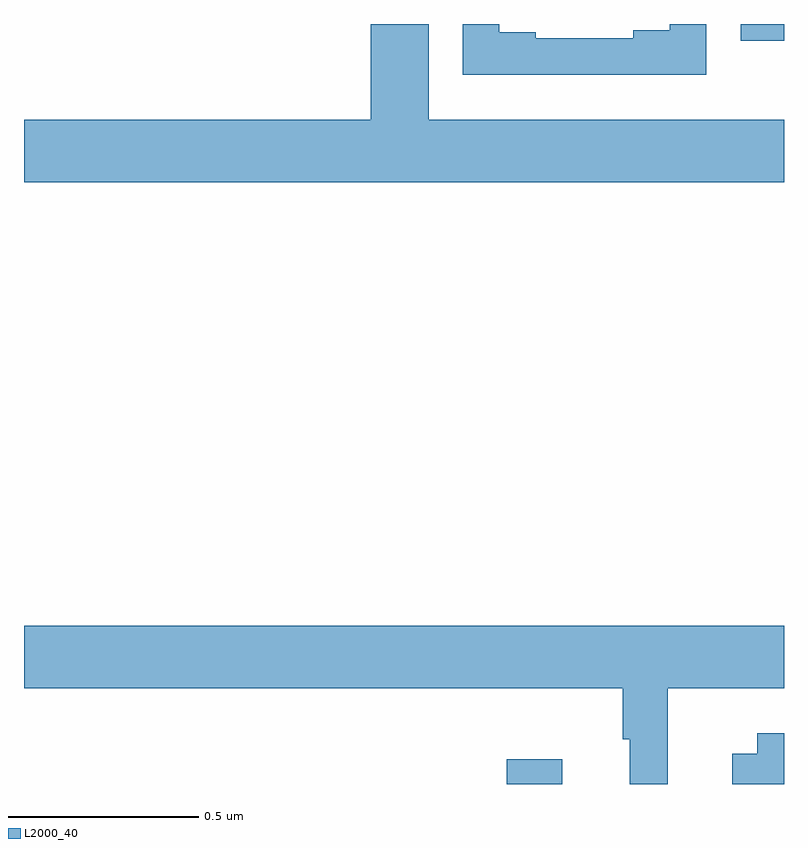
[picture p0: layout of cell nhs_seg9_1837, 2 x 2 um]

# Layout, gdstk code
import gdstk
lib = gdstk.Library(unit=1e-6, precision=1e-09)
def R(c, l, rs):  # rectangles x0, y0, x1, y1
    for r in rs: c.add(gdstk.rectangle(r[:2], r[2:], *l))
def P(c, l, *ps):  # polygons
    for p in ps: c.add(gdstk.Polygon(p, *l))
L2000_40 = (2000, 40)

nhs_seg9_1837 = lib.new_cell('nhs_seg9_1837')
R(nhs_seg9_1837, L2000_40, [(134.27,1197.5,134.416,1197.565), (134.886,1199.456,135,1199.5)])
P(nhs_seg9_1837, L2000_40, [(135,1199.248),(134.065,1199.248),(134.065,1199.5),(133.913,1199.5),(133.913,1199.248),(133,1199.248),(133,1199.084),(135,1199.084)],
  [(134.796,1199.5),(134.699,1199.5),(134.699,1199.483),(134.603,1199.483),(134.603,1199.463),(134.347,1199.463),(134.347,1199.478),(134.251,1199.478),(134.251,1199.5),(134.154,1199.5),(134.154,1199.367),(134.796,1199.367)],
  [(134.694,1197.752),(135,1197.752),(135,1197.916),(133,1197.916),(133,1197.752),(134.575,1197.752),(134.575,1197.618),(134.594,1197.618),(134.594,1197.5),(134.694,1197.5)],
  [(135,1197.634),(134.93,1197.634),(134.93,1197.58),(134.864,1197.58),(134.864,1197.5),(135,1197.5)])

lib.write_gds('nhs_seg9_1837.gds')
